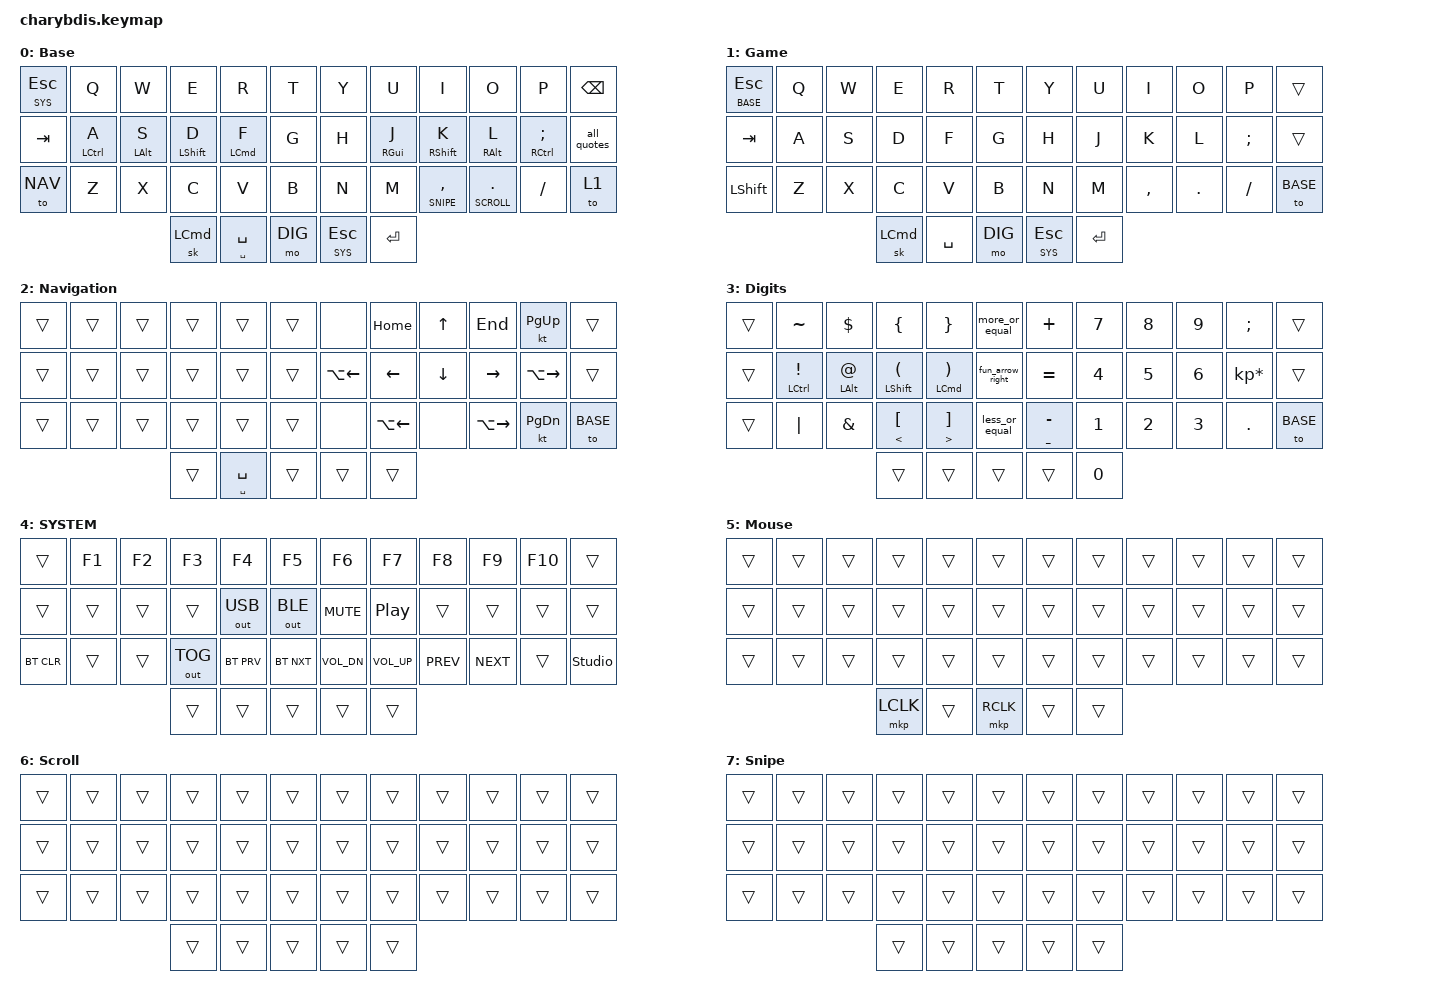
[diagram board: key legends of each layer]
#include <dt-bindings/zmk/mouse.h>
#include <behaviors/mouse_keys.dtsi>
#include <input/processors.dtsi>
#include <dt-bindings/zmk/input_transform.h>
#include <behaviors.dtsi>
#include <dt-bindings/zmk/bt.h>
#include <dt-bindings/zmk/keys.h>
#include <dt-bindings/zmk/outputs.h>
#include <dt-bindings/zmk/pointing.h>

#define BASE 0
#define GAME 1
#define NAV  2
#define DIG  3
#define SYS  4
#define MOUSE  5
#define SCROLL 6
#define SNIPE 7

/ {
    trackball_listener {
        compatible = "zmk,input-listener";
        device = <&vtrackball>;

        // scaler: first is multiplier, second one is divider.
        // temp layer: first argument is layer, second is time in ms

        input-processors = <&zip_xy_scaler 1 3>, <&zip_temp_layer MOUSE 1000>;

        snipe {
            layers = <SNIPE>;
            input-processors = <&zip_xy_scaler 1 18>;
        };

        scroll {
            layers = <SCROLL>;

            // scaler: first is multiplier, second one is divider.

            input-processors =
                <&zip_xy_to_scroll_mapper>,
                <&zip_scroll_transform(INPUT_TRANSFORM_XY_SWAP)>,
                <&zip_scroll_scaler 1 72>;
        };
    };

    behaviors {
        hm_right: homerow_mod_right {
            compatible = "zmk,behavior-hold-tap";
            #binding-cells = <2>;
            flavor = "balanced";
            tapping-term-ms = <280>;
            quick-tap-ms = <200>;
            require-prior-idle-ms = <150>;
            bindings = <&kp>, <&kp>;

            hold-trigger-key-positions = <0 1 2 3 4 5 12 13 14 15 16 17 24 25 26 27 28 29 36 37 38>;
        };

        hm_left: homerow_mod_left {
            compatible = "zmk,behavior-hold-tap";
            #binding-cells = <2>;
            flavor = "balanced";
            tapping-term-ms = <280>;
            quick-tap-ms = <200>;
            require-prior-idle-ms = <150>;
            bindings = <&kp>, <&kp>;

            hold-trigger-key-positions = <6 7 8 9 10 11 18 19 20 21 22 23 30 31 32 33 34 35 39 40>;
        };

        hm_right_layer: homerow_mod_right_layer {
            compatible = "zmk,behavior-hold-tap";
            #binding-cells = <2>;
            flavor = "balanced";
            tapping-term-ms = <280>;
            quick-tap-ms = <200>;
            require-prior-idle-ms = <150>;
            bindings = <&mo>, <&kp>;

            hold-trigger-key-positions = <0 1 2 3 4 5 12 13 14 15 16 17 24 25 26 27 28 29 36 37 38>;
        };

        hm_left_layer: homerow_mod_left_layer {
            compatible = "zmk,behavior-hold-tap";
            #binding-cells = <2>;
            flavor = "balanced";
            tapping-term-ms = <280>;
            quick-tap-ms = <200>;
            require-prior-idle-ms = <150>;
            bindings = <&mo>, <&kp>;

            hold-trigger-key-positions = <6 7 8 9 10 11 18 19 20 21 22 23 30 31 32 33 34 35 39 40>;
        };

        comment_or: comment_or {
            compatible = "zmk,behavior-hold-tap";
            label = "slash_or_comm";
            bindings = <&comment>, <&kp>;

            #binding-cells = <2>;
            tapping-term-ms = <200>;
            flavor = "tap-preferred";
        };

        all_quotes: all_quotes {
            compatible = "zmk,behavior-tap-dance";
            #binding-cells = <0>;
            tapping-term-ms = <200>;
            bindings = <&mt GRAVE SQT>, <&kp DOUBLE_QUOTES>;
        };

        space_or_super: space_or_super {
            compatible = "zmk,behavior-hold-tap";
            #binding-cells = <2>;
            flavor = "tap-preferred";
            tapping-term-ms = <250>;
            quick-tap-ms = <150>;
            require-prior-idle-ms = <125>;
            bindings = <&super>, <&kp>;
        };
    };

    combos {
        compatible = "zmk,combos";

        backspace {
            bindings = <&kp BACKSPACE>;
            key-positions = <8 9>;
            timeout-ms = <50>;
            require-prior-idle-ms = <50>;
        };

        opt_backspace {
            bindings = <&kp LA(BACKSPACE)>;
            key-positions = <7 8 9>;
            timeout-ms = <70>;
            require-prior-idle-ms = <100>;
        };

        shift {
            bindings = <&sk LEFT_SHIFT>;
            key-positions = <15 16>;
            timeout-ms = <50>;
            require-prior-idle-ms = <150>;
        };

        caps_lock {
            bindings = <&caps_word>;
            key-positions = <14 15 16>;
            timeout-ms = <100>;
            require-prior-idle-ms = <150>;
        };
    };

    macros {
        /**
       * Temporarily switches to a layer (`&mo`) while a modifier is held.
       * Analogous to QMK's `LM()`, using a parameterized macro.
       *
       * Params:
       *  1. Layer to switch to
       *  2. Modifier to press while layer is active
       *
       * Example:
       *  `&lm NUM_LAYER LSHIFT`
       */

        lm: lm {
            compatible = "zmk,behavior-macro-two-param";
            wait-ms = <0>;
            tap-ms = <0>;
            #binding-cells = <2>;
            bindings =
                <&macro_param_1to1>,
                <&macro_press>,
                <&mo MACRO_PLACEHOLDER &macro_param_2to1>,
                <&macro_press>,
                <&kp MACRO_PLACEHOLDER>,
                <&macro_pause_for_release>,
                <&macro_param_2to1>,
                <&macro_release>,
                <&kp MACRO_PLACEHOLDER &macro_param_1to1>,
                <&macro_release>,
                <&mo MACRO_PLACEHOLDER>;
        };

        press_two_keys: press_two_keys {
            compatible = "zmk,behavior-macro-two-param";
            wait-ms = <0>;
            tap-ms = <0>;
            #binding-cells = <2>;
            bindings =
                <&macro_param_1to1>,
                <&macro_tap>,
                <&kp MACRO_PLACEHOLDER &macro_param_2to1>,
                <&macro_tap>,
                <&kp MACRO_PLACEHOLDER>;
        };

        super: super {
            compatible = "zmk,behavior-macro";
            #binding-cells = <0>;
            bindings =
                <&macro_press>,
                <&kp LGUI>,
                <&macro_press>,
                <&kp LALT>,
                <&macro_press>,
                <&kp LCTL>,
                <&macro_pause_for_release>,
                <&macro_release>,
                <&kp LGUI>,
                <&macro_release>,
                <&kp LALT>,
                <&macro_release>,
                <&kp LCTL>;
        };

        more_or_equal: more_or_equal {
            compatible = "zmk,behavior-macro";
            #binding-cells = <0>;
            bindings = <&kp MINUS &kp GT>;
            label = "MORE_OR_EQUAL";
        };

        less_or_equal: less_or_equal {
            compatible = "zmk,behavior-macro";
            #binding-cells = <0>;
            bindings = <&kp LT &kp EQUAL>;
            label = "LESS_OR_EQUAL";
        };

        fun_arrow_right: fun_arrow_right {
            compatible = "zmk,behavior-macro";
            #binding-cells = <0>;
            bindings = <&kp MINUS &kp GT>;
            label = "FUN_ARROW_RIGHT";
        };

        comment: comment {
            compatible = "zmk,behavior-macro";
            #binding-cells = <0>;
            bindings = <&kp FSLH &kp STAR>;
            label = "MACROS_COMMENT";
        };
    };

    keymap {
        compatible = "zmk,keymap";

        BASE {
            label = "Base";
            bindings = <
&lt SYS ESC  &kp Q             &kp W                &kp E             &kp R                        &kp T      &kp Y        &kp U                  &kp I                        &kp O                       &kp P                      &kp BACKSPACE
&kp TAB      &hm_left LCTRL A  &hm_left LEFT_ALT S  &hm_left LSHFT D  &hm_left LEFT_COMMAND F      &kp G      &kp H        &hm_right RIGHT_GUI J  &hm_right RSHFT K            &hm_right RIGHT_ALT L       &hm_right RCTRL SEMICOLON  &all_quotes
&to NAV      &kp Z             &kp X                &kp C             &kp V                        &kp B      &kp N        &kp M                  &hm_right_layer SNIPE COMMA  &hm_right_layer SCROLL DOT  &kp SLASH                  &to 1
                                                    &sk LEFT_COMMAND  &space_or_super SPACE SPACE  &mo DIG    &lt SYS ESC  &kp RET
            >;
        };

        GAME {
            label = "Game";
            bindings = <
&lt BASE ESC  &kp Q  &kp W  &kp E             &kp R      &kp T      &kp Y        &kp U    &kp I      &kp O    &kp P          &trans
&kp TAB       &kp A  &kp S  &kp D             &kp F      &kp G      &kp H        &kp J    &kp K      &kp L    &kp SEMICOLON  &trans
&kp LSHFT     &kp Z  &kp X  &kp C             &kp V      &kp B      &kp N        &kp M    &kp COMMA  &kp DOT  &kp SLASH      &to BASE
                            &sk LEFT_COMMAND  &kp SPACE  &mo DIG    &lt SYS ESC  &kp RET
            >;
        };

        Navigation {
            label = "Navigation";
            bindings = <
&trans  &trans  &trans  &trans  &trans                       &trans    &none         &kp HOME      &kp UP    &kp END        &kt PAGE_UP    &trans
&trans  &trans  &trans  &trans  &trans                       &trans    &kp LA(LEFT)  &kp LEFT      &kp DOWN  &kp RIGHT      &kp LA(RIGHT)  &trans
&trans  &trans  &trans  &trans  &trans                       &trans    &none         &kp LA(LEFT)  &none     &kp LA(RIGHT)  &kt PAGE_DOWN  &to BASE
                        &trans  &space_or_super SPACE SPACE  &trans    &trans        &trans
            >;
        };

        digits {
            label = "Digits";
            bindings = <
&trans  &kp TILDE                   &kp DOLLAR                 &kp LEFT_BRACE                   &kp RIGHT_BRACE                          &more_or_equal      &kp PLUS         &kp N7  &kp N8  &kp N9  &kp SEMICOLON    &trans
&trans  &hm_left LCTRL EXCLAMATION  &hm_left LEFT_ALT AT_SIGN  &hm_left LSHFT LEFT_PARENTHESIS  &hm_left LEFT_COMMAND RIGHT_PARENTHESIS  &fun_arrow_right    &kp EQUAL        &kp N4  &kp N5  &kp N6  &kp KP_MULTIPLY  &trans
&trans  &kp PIPE                    &kp AMPERSAND              &mt LESS_THAN LEFT_BRACKET       &mt GREATER_THAN RIGHT_BRACKET           &less_or_equal      &mt UNDER MINUS  &kp N1  &kp N2  &kp N3  &kp PERIOD       &to BASE
                                                               &trans                           &trans                                   &trans              &trans           &kp N0
            >;
        };

        system {
            label = "SYSTEM";
            bindings = <
&trans      &kp F1  &kp F2  &kp F3        &kp F4        &kp F5          &kp F6        &kp F7        &kp F8      &kp F9      &kp F10  &trans
&trans      &trans  &trans  &trans        &out OUT_USB  &out OUT_BLE    &kp C_MUTE    &kp C_PP      &trans      &trans      &trans   &trans
&bt BT_CLR  &trans  &trans  &out OUT_TOG  &bt BT_PRV    &bt BT_NXT      &kp C_VOL_DN  &kp C_VOL_UP  &kp C_PREV  &kp C_NEXT  &trans   &studio_unlock
                            &trans        &trans        &trans          &trans        &trans
            >;
        };

        AUTO-MOUSE {
            label = "Mouse";
            bindings = <
&trans  &trans  &trans  &trans     &trans  &trans       &trans  &trans  &trans  &trans  &trans  &trans
&trans  &trans  &trans  &trans     &trans  &trans       &trans  &trans  &trans  &trans  &trans  &trans
&trans  &trans  &trans  &trans     &trans  &trans       &trans  &trans  &trans  &trans  &trans  &trans
                        &mkp LCLK  &trans  &mkp RCLK    &trans  &trans
            >;
        };

        SCROLL {
            label = "Scroll";
            bindings = <
&trans  &trans  &trans  &trans  &trans  &trans    &trans  &trans  &trans  &trans  &trans  &trans
&trans  &trans  &trans  &trans  &trans  &trans    &trans  &trans  &trans  &trans  &trans  &trans
&trans  &trans  &trans  &trans  &trans  &trans    &trans  &trans  &trans  &trans  &trans  &trans
                        &trans  &trans  &trans    &trans  &trans
            >;
        };

        SNIPE {
            label = "Snipe";
            bindings = <
&trans  &trans  &trans  &trans  &trans  &trans    &trans  &trans  &trans  &trans  &trans  &trans
&trans  &trans  &trans  &trans  &trans  &trans    &trans  &trans  &trans  &trans  &trans  &trans
&trans  &trans  &trans  &trans  &trans  &trans    &trans  &trans  &trans  &trans  &trans  &trans
                        &trans  &trans  &trans    &trans  &trans
            >;
        };
    };
};
